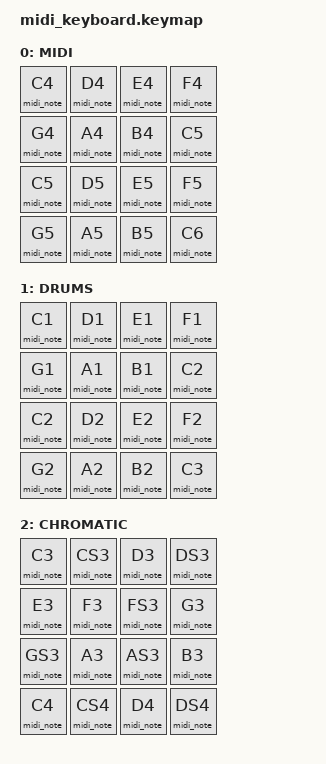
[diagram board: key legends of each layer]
/*
 * ZMK MIDI Keyboard - Example Configuration
 * 
 * A 4x4 MIDI keyboard layout for controlling synthesizers
 * and other MIDI devices via USB.
 *
 * Setup: nice_nano_v2 or compatible nRF52840 board
 */

#include <behaviors.dtsi>
#include <dt-bindings/zmk/keys.h>
#include <dt-bindings/zmk/midi.h>

/ {
    keymap {
        compatible = "zmk,keymap";

        /* 
         * Layer 0: MIDI - Chromatic scale (Octave 4-5)
         * 
         * Natural notes across two octaves:
         * Row 1: C4  D4  E4  F4
         * Row 2: G4  A4  B4  C5
         * Row 3: C5  D5  E5  F5
         * Row 4: G5  A5  B5  C6
         */
        midi_layer {
            label = "MIDI";
            bindings = <
                &midi_note C4   &midi_note D4   &midi_note E4   &midi_note F4
                &midi_note G4   &midi_note A4   &midi_note B4   &midi_note C5
                &midi_note C5   &midi_note D5   &midi_note E5   &midi_note F5
                &midi_note G5   &midi_note A5   &midi_note B5   &midi_note C6
            >;
        };

        /* 
         * Layer 1: Drum pads - Lower octaves for percussion
         * 
         * Row 1: C1  D1  E1  F1
         * Row 2: G1  A1  B1  C2
         * Row 3: C2  D2  E2  F2
         * Row 4: G2  A2  B2  C3
         */
        drum_layer {
            label = "DRUMS";
            bindings = <
                &midi_note C1   &midi_note D1   &midi_note E1   &midi_note F1
                &midi_note G1   &midi_note A1   &midi_note B1   &midi_note C2
                &midi_note C2   &midi_note D2   &midi_note E2   &midi_note F2
                &midi_note G2   &midi_note A2   &midi_note B2   &midi_note C3
            >;
        };

        /* 
         * Layer 2: Extended range with chromatic (sharps/flats)
         * 
         * Row 1: C3  C#3 D3  D#3
         * Row 2: E3  F3  F#3 G3
         * Row 3: G#3 A3  A#3 B3
         * Row 4: C4  C#4 D4  D#4
         */
        extended_layer {
            label = "CHROMATIC";
            bindings = <
                &midi_note C3   &midi_note CS3  &midi_note D3   &midi_note DS3
                &midi_note E3   &midi_note F3   &midi_note FS3  &midi_note G3
                &midi_note GS3  &midi_note A3   &midi_note AS3  &midi_note B3
                &midi_note C4   &midi_note CS4  &midi_note D4   &midi_note DS4
            >;
        };
    };
};

/*
 * MIDI Note Reference
 * ===================
 * 
 * Each MIDI note has a number from 0-127
 * C4 (Middle C) = 60
 * 
 * Note naming convention: [Note][Octave]
 * - Natural notes: C, D, E, F, G, A, B
 * - Sharps: CS (or C# in traditional notation)
 * - Flats: Use the enharmonic equivalent sharp (e.g., Db = CS)
 * 
 * Common octaves:
 * - C1 = 12 (very low)
 * - C3 = 36 (low)
 * - C4 = 60 (Middle C - reference)
 * - C5 = 72 (high)
 * - C6 = 84 (very high)
 * - C7 = 96
 * - C8 = 108
 * 
 * All natural notes in octave 4:
 * C4=60, D4=62, E4=64, F4=65, G4=67, A4=69, B4=71
 * 
 * Chromatic notes:
 * C=0, CS=1, D=2, DS=3, E=4, F=5, FS=6, G=7, GS=8, A=9, AS=10, B=11 (within octave)
 * Multiply octave by 12 and add the chromatic offset
 */

/*
 * Customization Tips
 * ==================
 * 
 * To change the keyboard layout:
 * 1. Define a new keymap layer
 * 2. Use any MIDI notes you want (C0-G8)
 * 3. Assign them to your 16 keys
 * 
 * Example custom scale (Pentatonic):
 * &midi_note C4  &midi_note D4  &midi_note E4  &midi_note G4
 * &midi_note A4  &midi_note C5  &midi_note D5  &midi_note E5
 * &midi_note G5  &midi_note A5  &midi_note C6  &midi_note D6
 * &midi_note E6  &midi_note G6  &midi_note A6  &midi_note C7
 * 
 * Example split keyboard (left/right):
 * Left hand (low):   C2, D2, E2, F2, G2, A2, B2, C3
 * Right hand (high): C5, D5, E5, F5, G5, A5, B5, C6
 */
